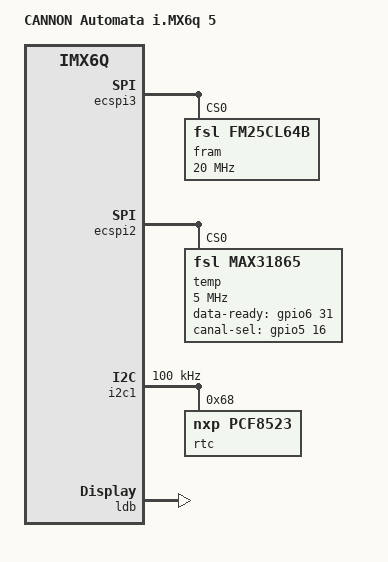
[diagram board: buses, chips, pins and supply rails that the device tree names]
/*
 * Copyright (c) Automata GmbH & Co. KG
 * Author: Hichem Ben Fekih <hfekih@cannon.com>
 */
/dts-v1/;

#include <dt-bindings/interrupt-controller/irq.h>

#include "imx6q.dtsi"
#include "imx6qdl-cannon.dtsi"

/ {
	model = "CANNON Automata i.MX6q 5";
	compatible = "cannon,imx6dl-70041500", "fsl,imx6q";
};

&iomuxc {
	imx6qdl-wandboard {
		pinctrl_hog_1: hoggrp-1 {
			fsl,pins = <
				MX6QDL_PAD_GPIO_0__CCM_CLKO1     	0x130b0
				MX6QDL_PAD_GPIO_4__GPIO1_IO04		0x80000000	/* USDHC2 CD */
				MX6QDL_PAD_SD4_DAT0__GPIO2_IO08     0x80000000	/* lvds backlight enable */

				/* digital input */
				MX6QDL_PAD_SD1_DAT3__GPIO1_IO21     0x4001b0b5 /* new */
				MX6QDL_PAD_EIM_D17__GPIO3_IO17      0x4001b0b5 /* new */
				MX6QDL_PAD_EIM_D23__GPIO3_IO23      0x4001b0b5 /* new */
				MX6QDL_PAD_EIM_D20__GPIO3_IO20      0x4001b0b5 /* new */
				MX6QDL_PAD_DI0_DISP_CLK__GPIO4_IO16 0x4001b0b5
				MX6QDL_PAD_DI0_PIN15__GPIO4_IO17    0x4001b0b5
				MX6QDL_PAD_DI0_PIN2__GPIO4_IO18     0x4001b0b5
				MX6QDL_PAD_DI0_PIN3__GPIO4_IO19     0x4001b0b5

				/* digital output */
                MX6QDL_PAD_DISP0_DAT4__GPIO4_IO25   0x4001b0b5
                MX6QDL_PAD_DISP0_DAT5__GPIO4_IO26   0x4001b0b5
                MX6QDL_PAD_DISP0_DAT6__GPIO4_IO27   0x4001b0b5
                MX6QDL_PAD_DISP0_DAT8__GPIO4_IO29   0x4001b0b5
                MX6QDL_PAD_DISP0_DAT9__GPIO4_IO30   0x4001b0b5
                MX6QDL_PAD_DISP0_DAT10__GPIO4_IO31  0x4001b0b5
                MX6QDL_PAD_SD3_DAT6__GPIO6_IO18     0x4001b0b5
                MX6QDL_PAD_SD3_DAT7__GPIO6_IO17     0x4001b0b5

				/* digital output flags */
				MX6QDL_PAD_SD1_DAT0__GPIO1_IO16     0x4001b0b5 /* new */
				MX6QDL_PAD_SD1_DAT1__GPIO1_IO17     0x4001b0b5 /* new */
				MX6QDL_PAD_SD1_CMD__GPIO1_IO18      0x4001b0b5 /* new */
				MX6QDL_PAD_SD1_CLK__GPIO1_IO20      0x4001b0b5 /* new */

				/* leds */
				MX6QDL_PAD_DISP0_DAT12__GPIO5_IO06  0x4001b0b5
                MX6QDL_PAD_GPIO_9__GPIO1_IO09       0x4001b0b5
                MX6QDL_PAD_NANDF_CS2__GPIO6_IO15    0x4001b0b5 /* new */

				/* dip */
				MX6QDL_PAD_DISP0_DAT23__GPIO5_IO17  0x4001b0b5 /* new */
				MX6QDL_PAD_SD3_DAT2__GPIO7_IO06     0x4001b0b5
				MX6QDL_PAD_SD3_DAT3__GPIO7_IO07     0x4001b0b5
				MX6QDL_PAD_EIM_DA4__GPIO3_IO04      0x4001b0b5
				MX6QDL_PAD_EIM_DA7__GPIO3_IO07      0x4001b0b5

				/* gpios */
				MX6QDL_PAD_CSI0_VSYNC__GPIO5_IO21   0x4001b0b5
				MX6QDL_PAD_CSI0_PIXCLK__GPIO5_IO18  0x4001b0b5
				MX6QDL_PAD_KEY_COL1__GPIO4_IO08     0x4001b0b5

				/* hw revision */
				MX6QDL_PAD_DI0_PIN4__GPIO4_IO20     0x4001b0b5
				MX6QDL_PAD_DISP0_DAT7__GPIO4_IO28   0x4001b0b5
				MX6QDL_PAD_DISP0_DAT14__GPIO5_IO08  0x4001b0b5

				/* an output */
				MX6QDL_PAD_SD4_DAT4__GPIO2_IO12     0x4001b0b5
				MX6QDL_PAD_SD4_DAT7__GPIO2_IO15     0x4001b0b5
				MX6QDL_PAD_EIM_CS0__GPIO2_IO23      0x4001b0b5
				MX6QDL_PAD_EIM_CS1__GPIO2_IO24      0x4001b0b5

				/* an input data ready / select */
				MX6QDL_PAD_EIM_BCLK__GPIO6_IO31     0x4001b0b5 /* new */
				MX6QDL_PAD_DISP0_DAT22__GPIO5_IO16  0x4001b0b5 /* new */

				/* leds */
				MX6QDL_PAD_DISP0_DAT12__GPIO5_IO06  0x4001b0b5
                MX6QDL_PAD_GPIO_9__GPIO1_IO09       0x4001b0b5
                MX6QDL_PAD_NANDF_CS2__GPIO6_IO15    0x4001b0b5
			>;
		};
	};
};

&ecspi3 {
	status = "okay";
	fram: fm25cl64b@0 {
		mem-size = <4096>; //the mem size is actually 8192 but the driver supports for the moment only 4096
		compatible = "fsl,fm25cl64b";
		spi-max-frequency = <20000000>; //set to 20000000 for the target board
		reg = <0>;
		status = "okay";
	};
};

&ecspi2 {
	temp: max31865@0 {
		compatible = "fsl,max31865";
		spi-max-frequency = <5000000>;
		reg = <0>;
		data-ready-gpio = <&gpio6 31 0>;
		canal-sel-gpio = <&gpio5 16 0>;
		spi-cpha;
		status = "okay";
	};
};

&i2c1 {
	clock-frequency = <100000>;
	pinctrl-names = "default";
	pinctrl-0 = <&pinctrl_i2c1>;
	status = "okay";

	rtc: pcf8523@68 {
		compatible = "nxp,pcf8523";
		reg = <0x68>;
	};

};

&ldb {
	status = "okay";
	lvds-channel@0 {
		crtc = "ipu1-di0";
		fsl,data-mapping = "spwg";
		fsl,data-width = <24>;
		primary;
		status = "okay";
		
		display-timings {
			native-mode = <&timing0>;
			timing0: tm101jdhg30 {
				clock-frequency = <63000000>;
				hactive = <1280>;
				vactive = <800>;
				hback-porch = <30>;
				hfront-porch = <64>;
				hsync-len = <2>;
				vback-porch = <2>;
				vfront-porch = <40>;
				vsync-len = <2>;
			};
		};
	};
};
